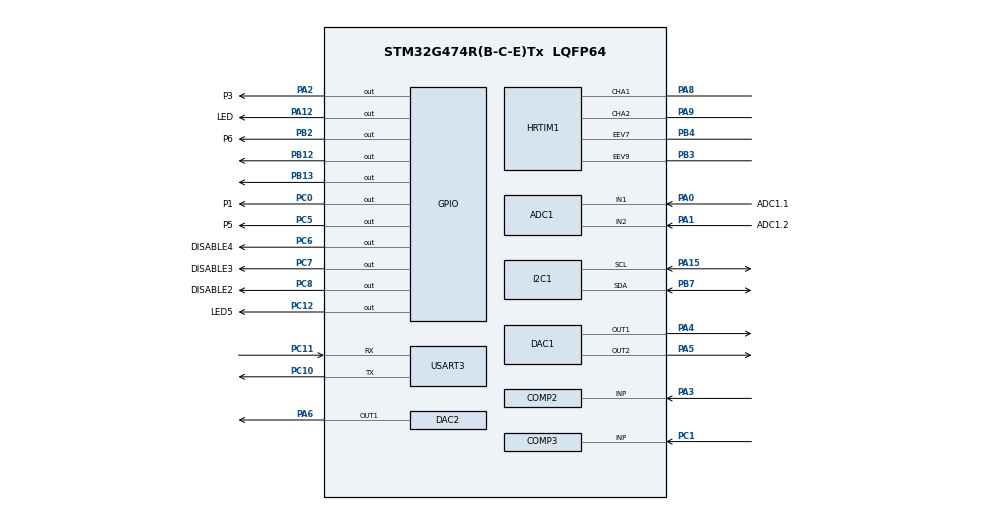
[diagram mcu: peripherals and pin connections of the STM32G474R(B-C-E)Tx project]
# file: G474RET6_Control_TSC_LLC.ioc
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ADC1.Channel-0\#ChannelRegularConversion=ADC_CHANNEL_1
ADC1.Channel-1\#ChannelRegularConversion=ADC_CHANNEL_2
ADC1.DMAContinuousRequests=ENABLE
ADC1.EOCSelection=ADC_EOC_SINGLE_CONV
ADC1.ExternalTrigConv=ADC_EXTERNALTRIG_HRTIM_TRG1
ADC1.NbrOfConversion=2
ADC1.NbrOfConversionFlag=1
ADC1.OffsetNumber-0\#ChannelRegularConversion=ADC_OFFSET_NONE
ADC1.OffsetNumber-1\#ChannelRegularConversion=ADC_OFFSET_NONE
ADC1.Overrun=ADC_OVR_DATA_PRESERVED
ADC1.Rank-0\#ChannelRegularConversion=1
ADC1.Rank-1\#ChannelRegularConversion=2
ADC1.SamplingTime-0\#ChannelRegularConversion=ADC_SAMPLETIME_12CYCLES_5
ADC1.SamplingTime-1\#ChannelRegularConversion=ADC_SAMPLETIME_12CYCLES_5
ADC1.master=1
COMP2.Hysteresis=COMP_HYSTERESIS_NONE
COMP3.Hysteresis=COMP_HYSTERESIS_NONE
DAC1.DAC_Channel-DAC_OUT2=DAC_CHANNEL_2
DAC1.DAC_Trigger2_OUT1-DAC_OUT1=DAC_TRIGGER_HRTIM_STEP_TRG1
DAC1.DAC_Trigger2_OUT2-DAC_OUT2=DAC_TRIGGER_HRTIM_STEP_TRG1
DAC1.DAC_Trigger_OUT1-DAC_OUT1=DAC_TRIGGER_HRTIM_RST_TRG1
DAC1.DAC_Trigger_OUT2-DAC_OUT2=DAC_TRIGGER_HRTIM_RST_TRG1
DAC1.PolaritySawtooth-DAC_OUT1=DAC_SAWTOOTH_POLARITY_INCREMENT
DAC1.ResetDataSawtooth-DAC_OUT1=2048
DAC1.ResetDataSawtooth2-DAC_OUT2=2048
DAC1.WaveGeneration_OUT1-DAC_OUT1=SawtoothWaveGenerate
DAC1.WaveGeneration_OUT2-DAC_OUT2=SawtoothWaveGenerate
DAC3.DAC_Channel-DAC_OUT2_Int=DAC_CHANNEL_2
DAC3.DAC_Trigger2_OUT1-DAC_OUT1_Int=DAC_TRIGGER_HRTIM_STEP_TRG1
DAC3.DAC_Trigger2_OUT2-DAC_OUT2_Int=DAC_TRIGGER_HRTIM_STEP_TRG1
DAC3.DAC_Trigger_OUT1-DAC_OUT1_Int=DAC_TRIGGER_HRTIM_RST_TRG1
DAC3.DAC_Trigger_OUT2-DAC_OUT2_Int=DAC_TRIGGER_HRTIM_RST_TRG1
DAC3.PolaritySawtooth-DAC_OUT1_Int=DAC_SAWTOOTH_POLARITY_INCREMENT
DAC3.ResetDataSawtooth-DAC_OUT1_Int=2048
DAC3.ResetDataSawtooth2-DAC_OUT2_Int=2048
DAC3.StepDataSawtooth-DAC_OUT1_Int=10
DAC3.StepDataSawtooth2-DAC_OUT2_Int=10
DAC3.WaveGeneration_OUT1-DAC_OUT1_Int=SawtoothWaveGenerate
DAC3.WaveGeneration_OUT2-DAC_OUT2_Int=SawtoothWaveGenerate
Dma.ADC1.0.Direction=DMA_PERIPH_TO_MEMORY
Dma.ADC1.0.EventEnable=DISABLE
Dma.ADC1.0.Instance=DMA1_Channel1
Dma.ADC1.0.MemDataAlignment=DMA_MDATAALIGN_HALFWORD
Dma.ADC1.0.MemInc=DMA_MINC_ENABLE
Dma.ADC1.0.Mode=DMA_CIRCULAR
Dma.ADC1.0.PeriphDataAlignment=DMA_PDATAALIGN_HALFWORD
Dma.ADC1.0.PeriphInc=DMA_PINC_DISABLE
Dma.ADC1.0.Polarity=HAL_DMAMUX_REQ_GEN_RISING
Dma.ADC1.0.Priority=DMA_PRIORITY_LOW
Dma.ADC1.0.RequestNumber=1
Dma.ADC1.0.SignalID=NONE
Dma.ADC1.0.SyncEnable=DISABLE
Dma.ADC1.0.SyncPolarity=HAL_DMAMUX_SYNC_NO_EVENT
Dma.ADC1.0.SyncRequestNumber=1
Dma.ADC1.0.SyncSignalID=NONE
Dma.Request0=ADC1
HRTIM1.ADCTrigger1_Source1=HRTIM_ADCTRIGGEREVENT13_TIMERF_PERIOD
HRTIM1.ADCTrigger_Id1=HRTIM_ADCTRIGGER_1
HRTIM1.CompareUnit1-No_output_TF=__NULL
HRTIM1.CompareUnit1-Output_TA1TA2=HRTIM_COMPAREUNIT_1
HRTIM1.CompareUnit2-Output_TA1TA2=HRTIM_COMPAREUNIT_2
HRTIM1.CompareUnit4-No_output_TE=HRTIM_COMPAREUNIT_4
HRTIM1.CompareValue1-Output_TA1TA2=600
HRTIM1.CompareValue2-Output_TA1TA2=340
HRTIM1.CompareValue4-No_output_TE=4000
HRTIM1.DeadTimeInsertion-Output_TA1TA2=HRTIM_TIMDEADTIMEINSERTION_DISABLED
HRTIM1.DualChannelDacEnableFake_TA-Output_TA1TA2=HRTIM_TIMER_DCDE_ENABLED_FAKE1
HRTIM1.Event1-Output_TA1TA2=__NULL
HRTIM1.Event6-Output_TA1TA2=__NULL
HRTIM1.Event_EEV1=__NULL
HRTIM1.Event_EEV10=__NULL
HRTIM1.Event_EEV3=__NULL
HRTIM1.Event_EEV4=__NULL
HRTIM1.Event_EEV5=__NULL
HRTIM1.Event_EEV6=HRTIM_EVENT_6
HRTIM1.Event_EEV8=HRTIM_EVENT_8
HRTIM1.Event_EEV9=HRTIM_EVENT_9
HRTIM1.Filter_EEV6=HRTIM_EVENTFILTER_1
HRTIM1.Filter_EEV7=HRTIM_EVENTFILTER_NONE
HRTIM1.Filter_EEV8=HRTIM_EVENTFILTER_1
HRTIM1.Filter_EEV9=HRTIM_EVENTFILTER_NONE
HRTIM1.InterruptRequests1-No_output_TF=HRTIM_TIM_IT_REP
HRTIM1.ModeTimeBase-Output_TA1TA2=HRTIM_MODE_CONTINUOUS
HRTIM1.NumberADCTriggerSource1=1
HRTIM1.NumberInterruptRequests-No_output_TF=1
HRTIM1.NumberResetSource1-Output_TA1TA2=2
HRTIM1.NumberResetSource2_TA=2
HRTIM1.NumberResetTrigger-No_output_TE=2
HRTIM1.NumberResetTrigger-Output_TA1TA2=1
HRTIM1.NumberSetSource1-Output_TA1TA2=1
HRTIM1.NumberSetSource2_TA=1
HRTIM1.NumberUpdateTrigger-Output_TA1TA2=0
HRTIM1.ORingUpdateSource_ADCTrigger1=HRTIM_ADCTRIGGERUPDATE_TIMER_F
HRTIM1.Periode_TA=22500
HRTIM1.Periode_TE=46000
HRTIM1.Periode_TF=54400
HRTIM1.Polarity2-Output_TA1TA2=HRTIM_OUTPUTPOLARITY_HIGH
HRTIM1.PreloadEnable-No_output_TE=HRTIM_PRELOAD_ENABLED
HRTIM1.PreloadEnable-No_output_TF=HRTIM_PRELOAD_ENABLED
HRTIM1.PreloadEnable-Output_TA1TA2=HRTIM_PRELOAD_ENABLED
HRTIM1.PrescalerRatio_TA=HRTIM_PRESCALERRATIO_MUL16
HRTIM1.PrescalerRatio_TE=HRTIM_PRESCALERRATIO_MUL16
HRTIM1.PrescalerRatio_TF=HRTIM_PRESCALERRATIO_MUL16
HRTIM1.PushPull-Output_TA1TA2=HRTIM_TIMPUSHPULLMODE_ENABLED
HRTIM1.RepetitionUpdate-No_output_TE=HRTIM_UPDATEONREPETITION_ENABLED
HRTIM1.RepetitionUpdate-No_output_TF=HRTIM_UPDATEONREPETITION_ENABLED
HRTIM1.RepetitionUpdate-Output_TA1TA2=HRTIM_UPDATEONREPETITION_ENABLED
HRTIM1.ResetOutput1_Source1-Output_TA1TA2=HRTIM_OUTPUTRESET_TIMAEV8_TIMECMP4
HRTIM1.ResetOutput1_Source2-Output_TA1TA2=HRTIM_OUTPUTRESET_TIMPER
HRTIM1.ResetOutput2_Source1-Output_TA1TA2=HRTIM_OUTPUTRESET_TIMAEV8_TIMECMP4
HRTIM1.ResetOutput2_Source2-Output_TA1TA2=HRTIM_OUTPUTRESET_TIMPER
HRTIM1.ResetTrigger1-No_output_TE=HRTIM_TIMRESETTRIGGER_EEV_6
HRTIM1.ResetTrigger1-Output_TA1TA2=HRTIM_TIMRESETTRIGGER_OTHER4_CMP4
HRTIM1.ResetTrigger2-No_output_TE=HRTIM_TIMRESETTRIGGER_EEV_8
HRTIM1.ResetUpdate-Output_TA1TA2=HRTIM_TIMUPDATEONRESET_DISABLED
HRTIM1.Sensitivity_EEV6=HRTIM_EVENTSENSITIVITY_RISINGEDGE
HRTIM1.Sensitivity_EEV7=HRTIM_EVENTSENSITIVITY_RISINGEDGE
HRTIM1.Sensitivity_EEV8=HRTIM_EVENTSENSITIVITY_FALLINGEDGE
HRTIM1.Sensitivity_EEV9=HRTIM_EVENTSENSITIVITY_FALLINGEDGE
HRTIM1.SetOutput1_Source1-Output_TA1TA2=HRTIM_OUTPUTSET_TIMCMP1
HRTIM1.SetOutput2_Source1-Output_TA1TA2=HRTIM_OUTPUTSET_TIMCMP1
HRTIM1.Source_EEV8=HRTIM_EEV8SRC_COMP3_OUT
I2C1.Timing=0x30A0A7FB
Mcu.Family=STM32G4
Mcu.Name=STM32G474R(B-C-E)Tx
Mcu.Package=LQFP64
NVIC.HRTIM1_TIMF_IRQn=true\:1\:0\:true\:false\:true\:true\:true\:true
NVIC.PriorityGroup=NVIC_PRIORITYGROUP_4
PA0.GPIO_Label=ADC1.1
PA0.Mode=IN1-Single-Ended
PA0.Signal=ADC1_IN1
PA1.GPIO_Label=ADC1.2
PA1.Mode=IN2-Single-Ended
PA1.Signal=ADC1_IN2
PA12.GPIO_Label=LED
PA12.Signal=GPIO_Output
PA13.Mode=Serial_Wire
PA13.Signal=SYS_JTMS-SWDIO
PA14.Mode=Serial_Wire
PA14.Signal=SYS_JTCK-SWCLK
PA15.Mode=I2C
PA15.Signal=I2C1_SCL
PA2.GPIO_Label=P3
PA2.Signal=GPIO_Output
PA3.Mode=INP
PA3.Signal=COMP2_INP
PA4.Signal=COMP_DAC11_group
PA5.Signal=COMP_DAC12_group
PA6.Signal=COMP_DAC21_group
PA8.Mode=Output_TA1TA2
PA8.Signal=HRTIM1_CHA1
PA9.Mode=Output_TA1TA2
PA9.Signal=HRTIM1_CHA2
PB12.GPIO_PuPd=GPIO_NOPULL
PB12.PinState=GPIO_PIN_SET
PB12.Signal=GPIO_Output
PB13.GPIO_PuPd=GPIO_NOPULL
PB13.PinState=GPIO_PIN_SET
PB13.Signal=GPIO_Output
PB2.GPIO_Label=P6
PB2.Signal=GPIO_Output
PB3.Mode=External_Evt_enable9
PB3.Signal=HRTIM1_EEV9
PB4.Mode=External_Evt_enable7
PB4.Signal=HRTIM1_EEV7
PB7.Mode=I2C
PB7.Signal=I2C1_SDA
PC0.GPIO_Label=P1
PC0.GPIO_PuPd=GPIO_NOPULL
PC0.Signal=GPIO_Output
PC1.Mode=INP
PC1.Signal=COMP3_INP
PC10.Mode=Asynchronous
PC10.Signal=USART3_TX
PC11.Mode=Asynchronous
PC11.Signal=USART3_RX
PC12.GPIO_Label=LED5
PC12.Signal=GPIO_Output
PC5.GPIO_Label=P5
PC5.Signal=GPIO_Output
PC6.GPIO_Label=DISABLE4
PC6.Signal=GPIO_Output
PC7.GPIO_Label=DISABLE3
PC7.Signal=GPIO_Output
PC8.GPIO_Label=DISABLE2
PC8.Signal=GPIO_Output
PC9.Signal=HRTIM1_CHE2
PF0-OSC_IN.Mode=HSE-External-Oscillator
PF0-OSC_IN.Signal=RCC_OSC_IN
PF1-OSC_OUT.Mode=HSE-External-Oscillator
PF1-OSC_OUT.Signal=RCC_OSC_OUT
ProjectManager.HeapSize=0x200
ProjectManager.StackSize=0x400
ProjectManager.TargetToolchain=MDK-ARM V5.32
RCC.ADC12Freq_Value=170000000
RCC.ADC345Freq_Value=170000000
RCC.AHBFreq_Value=170000000
RCC.APB1Freq_Value=170000000
RCC.APB1TimFreq_Value=170000000
RCC.APB2Freq_Value=170000000
RCC.APB2TimFreq_Value=170000000
RCC.CortexFreq_Value=170000000
RCC.EXTERNAL_CLOCK_VALUE=12288000
RCC.HCLKFreq_Value=170000000
RCC.HSE_VALUE=8000000
RCC.HSI48_VALUE=48000000
RCC.HSI_VALUE=16000000
RCC.LSE_VALUE=32768
RCC.PLLM=RCC_PLLM_DIV2
RCC.PLLN=85
RCC.PLLSourceVirtual=RCC_PLLSOURCE_HSE
RCC.SYSCLKFreq_VALUE=170000000
RCC.SYSCLKSource=RCC_SYSCLKSOURCE_PLLCLK
RCC.USBFreq_Value=170000000
RCC.VCOOutputFreq_Value=340000000
SH.COMP_DAC11_group.0=DAC1_OUT1,DAC_OUT1
SH.COMP_DAC12_group.0=DAC1_OUT2,DAC_OUT2
SH.COMP_DAC21_group.0=DAC2_OUT1,DAC_OUT1
USART3.VirtualMode-Asynchronous=VM_ASYNC
VP_COMP2_VS_DAC3OUT2.Mode=INM_DAC3OUT2
VP_COMP3_VS_DAC3OUT1.Mode=INM_DAC3OUT1
VP_CORDIC_VS_CORDIC.Mode=CORDIC_Activate
VP_DAC3_VS_DACI1.Mode=DAC_OUT1_Int
VP_DAC3_VS_DACI2.Mode=DAC_OUT2_Int
VP_HRTIM1_VS_hrtimTimerENoOutput.Mode=No_output_TE
VP_HRTIM1_VS_hrtimTimerFNoOutput.Mode=No_output_TF
VP_SYS_VS_DBSignals.Mode=DisableDeadBatterySignals
board=custom

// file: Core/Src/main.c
/* USER CODE BEGIN Header */
/**
  ******************************************************************************
  * @file           : main.c
  * @brief          : Main program body
  ******************************************************************************
  * @attention
  *
  * Copyright (c) 2024 STMicroelectronics.
  * All rights reserved.
  *
  * This software is licensed under terms that can be found in the LICENSE file
  * in the root directory of this software component.
  * If no LICENSE file comes with this software, it is provided AS-IS.
  *
  ******************************************************************************
  */
/* USER CODE END Header */
#include "main.h"
#include "adc.h"
#include "comp.h"
#include "cordic.h"
#include "dac.h"
#include "dma.h"
#include "hrtim.h"
#include "i2c.h"
#include "usart.h"
#include "gpio.h"

/* USER CODE BEGIN Includes */
#include "My_Digital_Control_LL.h"
#include "My_Cordic_LL.h"
/* USER CODE END Includes */

/* USER CODE BEGIN PTD */
Type2_TypeDef LLC_CVPamer;
/* USER CODE END PTD */

/* USER CODE BEGIN PV */
uint16_t ADC1_samples[2];
/* USER CODE END PV */

void SystemClock_Config(void);

int main(void)
{

  /* MCU Configuration--------------------------------------------------------*/

  /* Reset of all peripherals, Initializes the Flash interface and the Systick. */
  LL_APB2_GRP1_EnableClock(LL_APB2_GRP1_PERIPH_SYSCFG);
  LL_APB1_GRP1_EnableClock(LL_APB1_GRP1_PERIPH_PWR);

  /* System interrupt init*/
  NVIC_SetPriorityGrouping(NVIC_PRIORITYGROUP_4);

  /* SysTick_IRQn interrupt configuration */
  NVIC_SetPriority(SysTick_IRQn, NVIC_EncodePriority(NVIC_GetPriorityGrouping(),15, 0));

  /** Disable the internal Pull-Up in Dead Battery pins of UCPD peripheral
  */
  LL_PWR_DisableUCPDDeadBattery();

  /* Configure the system clock */
  SystemClock_Config();

  /* Initialize all configured peripherals */
  MX_GPIO_Init();
  MX_DMA_Init();
  MX_ADC1_Init();
  MX_HRTIM1_Init();
  MX_COMP2_Init();
  MX_COMP3_Init();
  MX_DAC1_Init();
  MX_DAC2_Init();
  MX_I2C1_Init();
  MX_USART3_UART_Init();
  MX_DAC3_Init();
  MX_CORDIC_Init();
  /* USER CODE BEGIN 2 */
    //配置Cordic

  LL_CORDIC_Config(CORDIC, CORDIC_FUNCTION_COSINE, CORDIC_PRECISION_6CYCLES, CORDIC_SCALE_0,
						CORDIC_NBWRITE_1,CORDIC_NBREAD_2, CORDIC_INSIZE_32BITS, CORDIC_OUTSIZE_32BITS);

  //DMA和ADC的初始化
  LL_DMA_SetDataLength(DMA1, LL_DMA_CHANNEL_1, 2);
  LL_DMA_SetPeriphAddress(DMA1,LL_DMA_CHANNEL_1,LL_ADC_DMA_GetRegAddr(ADC1,LL_ADC_DMA_REG_REGULAR_DATA));
  LL_DMA_SetMemoryAddress(DMA1,LL_DMA_CHANNEL_1,(uint32_t)ADC1_samples);   //用DMA传输ADC采样数据   这样不占用系统总线 就是牛马搬运工来的
  LL_DMA_EnableChannel(DMA1,LL_DMA_CHANNEL_1);

  LL_ADC_DisableDeepPowerDown(ADC1);
  LL_ADC_EnableInternalRegulator(ADC1);
  LL_mDelay(1);
  LL_ADC_StartCalibration(ADC1,LL_ADC_SINGLE_ENDED);
  LL_mDelay(1);
  LL_ADC_Enable(ADC1);
  LL_mDelay(1);
  LL_ADC_REG_SetDMATransfer(ADC1,LL_ADC_REG_DMA_TRANSFER_UNLIMITED);
  LL_ADC_REG_StartConversion(ADC1);

  LL_DAC_Enable(DAC3, LL_DAC_CHANNEL_1);
  LL_DAC_ConvertData12RightAligned(DAC3, LL_DAC_CHANNEL_1, 2048);    //用于给过零比较器做参考电压

  LL_DAC_Enable(DAC3, LL_DAC_CHANNEL_2);
  LL_DAC_ConvertData12RightAligned(DAC3, LL_DAC_CHANNEL_2, 2048);    //用于给过零比较器做参考电压

  LL_DAC_SetWaveSawtoothStepData(DAC3, LL_DAC_CHANNEL_1, 0);          //可用于使DAC产生斜坡   现在不需要
  LL_DAC_SetWaveSawtoothStepData(DAC3, LL_DAC_CHANNEL_2,0);           //可用于使DAC产生斜坡   现在不需要

  LL_DAC_SetWaveSawtoothResetData(DAC3, LL_DAC_CHANNEL_1, 2048);
  LL_DAC_SetWaveSawtoothResetData(DAC3, LL_DAC_CHANNEL_2, 2048);

//  LL_DAC_Enable(DAC1, LL_DAC_CHANNEL_1);                             //加油 这些没用的DAC  我关了哈
//  LL_DAC_ConvertData12RightAligned(DAC1, LL_DAC_CHANNEL_1, 2048);
//
//  LL_DAC_Enable(DAC1, LL_DAC_CHANNEL_2);
//  LL_DAC_ConvertData12RightAligned(DAC1, LL_DAC_CHANNEL_2, 2048);
//
//  LL_DAC_SetWaveSawtoothStepData(DAC1, LL_DAC_CHANNEL_1, 0);
//  LL_DAC_SetWaveSawtoothStepData(DAC1, LL_DAC_CHANNEL_2,0);

  LL_COMP_Enable(COMP2);                  //两个过零比较器使能
  LL_COMP_Enable(COMP3);

  LL_mDelay(100);
  FLASH->ACR |= (1<<9);//将第9位置1
  FLASH->ACR |= (1<<10);//将第10位置1

  LL_HRTIM_TIM_CounterEnable(HRTIM1, LL_HRTIM_TIMER_A|LL_HRTIM_TIMER_E|LL_HRTIM_TIMER_F);  //开启定时器
  LL_HRTIM_EnableIT_REP(HRTIM1, LL_HRTIM_TIMER_F);                          //开启定时器F中断
  LL_HRTIM_EnableOutput(HRTIM1, LL_HRTIM_OUTPUT_TE2);                       //无用  别理会
//  float LLC_CV_Afilter[2] = {1.4795635f, -0.47956353f};                     //电压环系数
//  float LLC_CV_Bfilter[3] = {0.06530368f, 0.003216941f, -0.062086739f};
  float LLC_CV_Afilter[2] = {0.69325157f, 0.30674843f};
  float LLC_CV_Bfilter[3] = {0.081853334f, 0.0068968557f, -0.074956478f};
  f32_Type2_Init(&LLC_CVPamer, LLC_CV_Afilter, LLC_CV_Bfilter, 1, 0.5f, 0.05f);  //4.2k
//  LL_HRTIM_EnableOutput(HRTIM1, LL_HRTIM_OUTPUT_TA1|LL_HRTIM_OUTPUT_TA2);

  /* USER CODE END 2 */

  /* Infinite loop */
  /* USER CODE BEGIN WHILE */
  while (1)
  {
	  LL_GPIO_SetOutputPin(GPIOA,LL_GPIO_PIN_12);   //LL库控制器GPIO的函数   LED灯
	  LL_mDelay(500);
	  LL_GPIO_ResetOutputPin(GPIOA,LL_GPIO_PIN_12);
	  LL_mDelay(500);
    /* USER CODE END WHILE */

  }
}

void SystemClock_Config(void)
{
  LL_FLASH_SetLatency(LL_FLASH_LATENCY_4);
  while(LL_FLASH_GetLatency() != LL_FLASH_LATENCY_4)
  {
  }
  LL_PWR_EnableRange1BoostMode();
  LL_RCC_HSE_Enable();
   /* Wait till HSE is ready */
  while(LL_RCC_HSE_IsReady() != 1)
  {
  }

  LL_RCC_PLL_ConfigDomain_SYS(LL_RCC_PLLSOURCE_HSE, LL_RCC_PLLM_DIV_2, 85, LL_RCC_PLLR_DIV_2);
  LL_RCC_PLL_EnableDomain_SYS();
  LL_RCC_PLL_Enable();
   /* Wait till PLL is ready */
  while(LL_RCC_PLL_IsReady() != 1)
  {
  }

  LL_RCC_SetSysClkSource(LL_RCC_SYS_CLKSOURCE_PLL);
  LL_RCC_SetAHBPrescaler(LL_RCC_SYSCLK_DIV_2);
   /* Wait till System clock is ready */
  while(LL_RCC_GetSysClkSource() != LL_RCC_SYS_CLKSOURCE_STATUS_PLL)
  {
  }

  /* Insure 1us transition state at intermediate medium speed clock*/
  for (__IO uint32_t i = (170 >> 1); i !=0; i--);

  /* Set AHB prescaler*/
  LL_RCC_SetAHBPrescaler(LL_RCC_SYSCLK_DIV_1);
  LL_RCC_SetAPB1Prescaler(LL_RCC_APB1_DIV_1);
  LL_RCC_SetAPB2Prescaler(LL_RCC_APB2_DIV_1);

  LL_Init1msTick(170000000);

  LL_SetSystemCoreClock(170000000);
}

void Error_Handler(void)
{
  __disable_irq();
  while (1)
  {
  }
}
